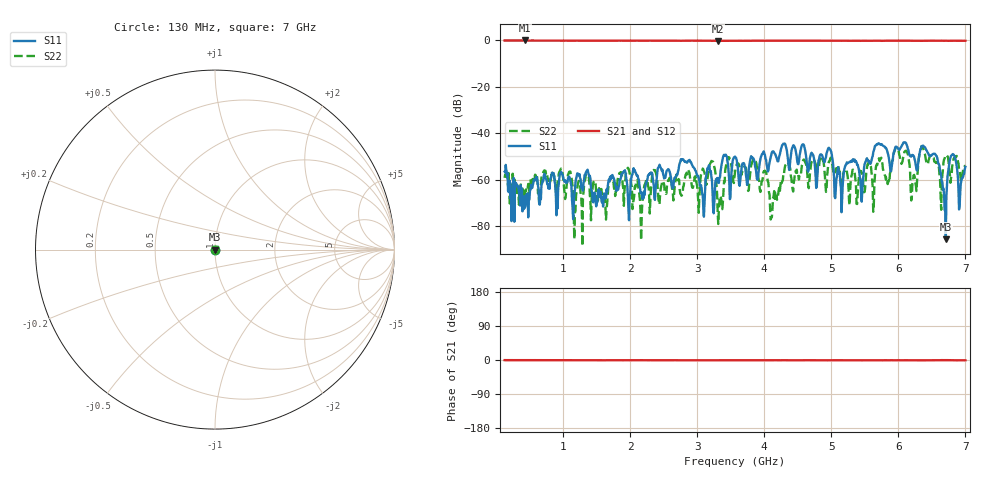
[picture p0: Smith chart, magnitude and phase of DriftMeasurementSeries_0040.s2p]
# Hz S RI R 50.000000
! Metas.Vna.Tools, 2.8.8664.20301
! Metas.Vna.Data, 2.8.8664.20285
! Created: UTC 2024.02.11 10:08:19
! FREQ  re:S1,1  im:S1,1  re:S2,1  im:S2,1  re:S1,2  im:S1,2  re:S2,2  im:S2,2
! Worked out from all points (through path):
!   801 points, 130 MHz to 7 GHz, reference 50 ohm
!   highest |S21| = -0.02 dB at 439.1 MHz (marker M1); lowest = -0.2 dB at 3.307 GHz (marker M2)
!   lowest |S11| = -85.8 dB at 6.708 GHz (marker M3), VSWR 1.00, Z = 50 - j0.00367 ohm
!   |S11| at or under -10 dB: start of sweep to end of sweep
!   |S22| runs from -88.8 to -45.6 dB; largest |S21 - S12| = 0.022
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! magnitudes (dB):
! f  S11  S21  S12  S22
! 130 MHz  -56.6  0.0  0.0  -59.3
! 439.1 MHz  -71.6  0.0  0.0  -64.8
! 1.281 GHz  -63.6  -0.1  0.0  -72.6
! 2.423 GHz  -54.9  -0.1  0.0  -68.4
! 3.221 GHz  -60.3  -0.2  0.0  -52.1
! 3.307 GHz  -59.4  -0.2  0.0  -75.0
! 3.565 GHz  -50.1  -0.1  0.0  -56.8
! 3.857 GHz  -52.6  -0.1  0.0  -51.1
! 4.123 GHz  -48.0  -0.1  0.0  -73.0
! 4.338 GHz  -47.5  -0.1  0.0  -52.9
! 4.716 GHz  -48.8  -0.1  0.0  -51.8
! 4.973 GHz  -46.7  -0.1  0.0  -52.2
! 5.154 GHz  -74.1  -0.1  0.0  -62.1
! 5.858 GHz  -50.6  -0.1  0.0  -60.2
! 5.978 GHz  -46.1  -0.1  0.0  -46.8
! 6.219 GHz  -49.8  -0.1  0.0  -60.7
! 6.382 GHz  -45.8  -0.2  0.0  -47.6
! 6.631 GHz  -57.0  -0.1  0.0  -67.3
! 6.708 GHz  -85.8  -0.2  0.0  -49.6
! 6.802 GHz  -49.4  -0.1  0.0  -54.4
! 6.923 GHz  -65.8  -0.1  0.0  -57.5
! 7 GHz  -54.6  -0.2  0.0  -54.1
